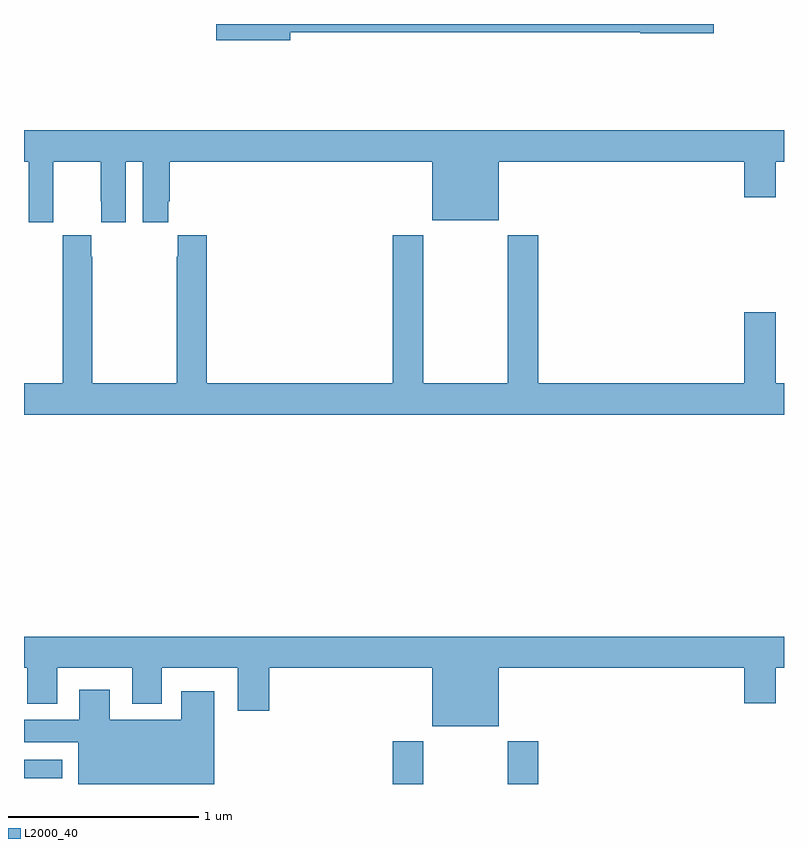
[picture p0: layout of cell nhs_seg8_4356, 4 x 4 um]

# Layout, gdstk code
import gdstk
lib = gdstk.Library(unit=1e-6, precision=1e-09)
def R(c, l, rs):  # rectangles x0, y0, x1, y1
    for r in rs: c.add(gdstk.rectangle(r[:2], r[2:], *l))
def P(c, l, *ps):  # polygons
    for p in ps: c.add(gdstk.Polygon(p, *l))
L2000_40 = (2000, 40)

nhs_seg8_4356 = lib.new_cell('nhs_seg8_4356')
R(nhs_seg8_4356, L2000_40, [(378.941,1103.9,379.101,1104.124), (379.546,1103.9,379.706,1104.124), (377,1103.93,377.2,1104.027)])
P(nhs_seg8_4356, L2000_40, [(378.4,1107.856),(380.244,1107.856),(380.244,1107.851),(380.629,1107.851),(380.629,1107.9),(378.012,1107.9),(378.012,1107.814),(378.4,1107.814)],
  [(377.154,1106.968),(377.155,1106.968),(377.155,1107.176),(377.405,1107.176),(377.405,1106.968),(377.406,1106.968),(377.406,1106.856),(377.536,1106.856),(377.536,1107.176),(377.624,1107.176),(377.624,1106.856),(377.758,1106.856),(377.758,1106.968),(377.768,1106.968),(377.768,1107.176),(379.148,1107.176),(379.148,1106.867),(379.498,1106.867),(379.498,1107.176),(380.792,1107.176),(380.792,1106.988),(380.956,1106.988),(380.956,1107.176),(381,1107.176),(381,1107.34),(377,1107.34),(377,1107.176),(377.024,1107.176),(377.024,1106.856),(377.154,1106.856)],
  [(381,1106.008),(380.956,1106.008),(380.956,1106.383),(380.792,1106.383),(380.792,1106.008),(379.706,1106.008),(379.706,1106.788),(379.546,1106.788),(379.546,1106.008),(379.101,1106.008),(379.101,1106.788),(378.941,1106.788),(378.941,1106.008),(377.963,1106.008),(377.963,1106.788),(377.809,1106.788),(377.809,1106.675),(377.803,1106.675),(377.803,1106.008),(377.358,1106.008),(377.358,1106.675),(377.355,1106.675),(377.355,1106.788),(377.205,1106.788),(377.205,1106.675),(377.203,1106.675),(377.203,1106.008),(377,1106.008),(377,1105.844),(381,1105.844)],
  [(379.498,1104.512),(380.792,1104.512),(380.792,1104.324),(380.956,1104.324),(380.956,1104.512),(381,1104.512),(381,1104.676),(377,1104.676),(377,1104.512),(377.018,1104.512),(377.018,1104.323),(377.176,1104.323),(377.176,1104.512),(377.57,1104.512),(377.57,1104.323),(377.725,1104.323),(377.725,1104.512),(378.125,1104.512),(378.125,1104.285),(378.29,1104.285),(378.29,1104.512),(379.148,1104.512),(379.148,1104.203),(379.498,1104.203)],
  [(378.001,1104.388),(377.828,1104.388),(377.828,1104.238),(377.452,1104.238),(377.452,1104.397),(377.291,1104.397),(377.291,1104.238),(377,1104.238),(377,1104.119),(377.285,1104.119),(377.285,1103.9),(378.001,1103.9)])

lib.write_gds('nhs_seg8_4356.gds')
